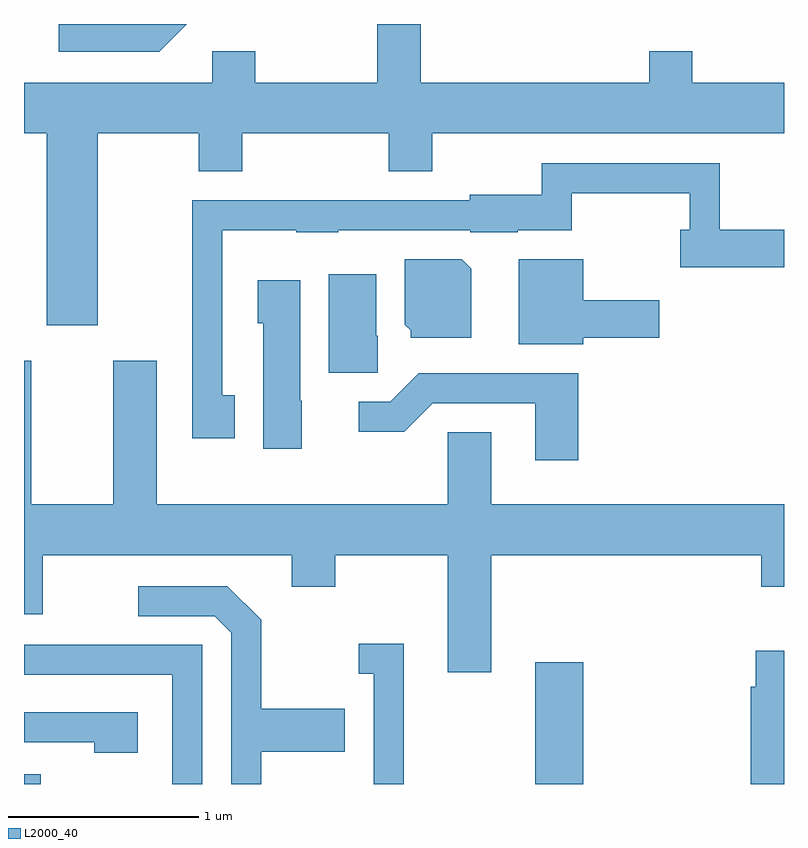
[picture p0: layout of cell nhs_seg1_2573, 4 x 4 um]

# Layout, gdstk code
import gdstk
lib = gdstk.Library(unit=1e-6, precision=1e-09)
def R(c, l, rs):  # rectangles x0, y0, x1, y1
    for r in rs: c.add(gdstk.rectangle(r[:2], r[2:], *l))
def P(c, l, *ps):  # polygons
    for p in ps: c.add(gdstk.Polygon(p, *l))
L2000_40 = (2000, 40)

nhs_seg1_2573 = lib.new_cell('nhs_seg1_2573')
R(nhs_seg1_2573, L2000_40, [(263.611,891.712,263.698,891.764), (266.301,891.712,266.554,892.354)])
P(nhs_seg1_2573, L2000_40, [(264.467,895.712),(263.793,895.712),(263.793,895.566),(264.322,895.566)],
  [(265.759,895.136),(267.611,895.136),(267.611,895.404),(267.129,895.404),(267.129,895.569),(266.901,895.569),(266.901,895.404),(265.699,895.404),(265.699,895.712),(265.471,895.712),(265.471,895.404),(264.829,895.404),(264.829,895.569),(264.601,895.569),(264.601,895.404),(263.611,895.404),(263.611,895.136),(263.731,895.136),(263.731,894.126),(263.999,894.126),(263.999,895.136),(264.531,895.136),(264.531,894.936),(264.759,894.936),(264.759,895.136),(265.531,895.136),(265.531,894.936),(265.759,894.936)],
  [(264.719,893.759),(264.654,893.759),(264.654,894.626),(265.045,894.626),(265.045,894.616),(265.265,894.616),(265.265,894.626),(265.96,894.626),(265.96,894.616),(266.21,894.616),(266.21,894.626),(266.494,894.626),(266.494,894.821),(267.116,894.821),(267.116,894.629),(267.066,894.629),(267.066,894.431),(267.611,894.431),(267.611,894.629),(267.274,894.629),(267.274,894.979),(266.336,894.979),(266.336,894.814),(265.956,894.814),(265.956,894.784),(264.496,894.784),(264.496,893.531),(264.719,893.531)],
  [(265.964,894.424),(265.914,894.474),(265.616,894.474),(265.616,894.129),(265.646,894.099),(265.646,894.061),(265.964,894.061)],
  [(266.554,894.061),(266.954,894.061),(266.954,894.259),(266.554,894.259),(266.554,894.474),(266.216,894.474),(266.216,894.026),(266.554,894.026)],
  [(265.474,894.07),(265.464,894.07),(265.464,894.394),(265.216,894.394),(265.216,893.876),(265.474,893.876)],
  [(265.074,893.73),(265.064,893.73),(265.064,894.364),(264.841,894.364),(264.841,894.136),(264.871,894.136),(264.871,893.476),(265.074,893.476)],
  [(265.021,892.751),(265.249,892.751),(265.249,892.916),(265.841,892.916),(265.841,892.301),(266.069,892.301),(266.069,892.916),(267.491,892.916),(267.491,892.751),(267.611,892.751),(267.611,893.184),(266.069,893.184),(266.069,893.564),(265.841,893.564),(265.841,893.184),(264.309,893.184),(264.309,893.939),(264.081,893.939),(264.081,893.184),(263.649,893.184),(263.649,893.939),(263.611,893.939),(263.611,892.606),(263.709,892.606),(263.709,892.916),(265.021,892.916)],
  [(266.529,893.874),(265.689,893.874),(265.539,893.724),(265.373,893.724),(265.373,893.566),(265.612,893.566),(265.762,893.716),(266.301,893.716),(266.301,893.416),(266.529,893.416)],
  [(264.859,891.881),(265.299,891.881),(265.299,892.109),(264.859,892.109),(264.859,892.577),(264.682,892.754),(264.213,892.754),(264.213,892.596),(264.614,892.596),(264.701,892.509),(264.701,891.712),(264.859,891.712)],
  [(265.609,892.449),(265.373,892.449),(265.373,892.291),(265.451,892.291),(265.451,891.712),(265.609,891.712)],
  [(264.549,892.444),(263.611,892.444),(263.611,892.286),(264.391,892.286),(264.391,891.712),(264.549,891.712)],
  [(267.611,892.414),(267.461,892.414),(267.461,892.224),(267.436,892.224),(267.436,891.712),(267.611,891.712)],
  [(264.209,892.089),(263.611,892.089),(263.611,891.931),(263.981,891.931),(263.981,891.876),(264.209,891.876)])

lib.write_gds('nhs_seg1_2573.gds')
